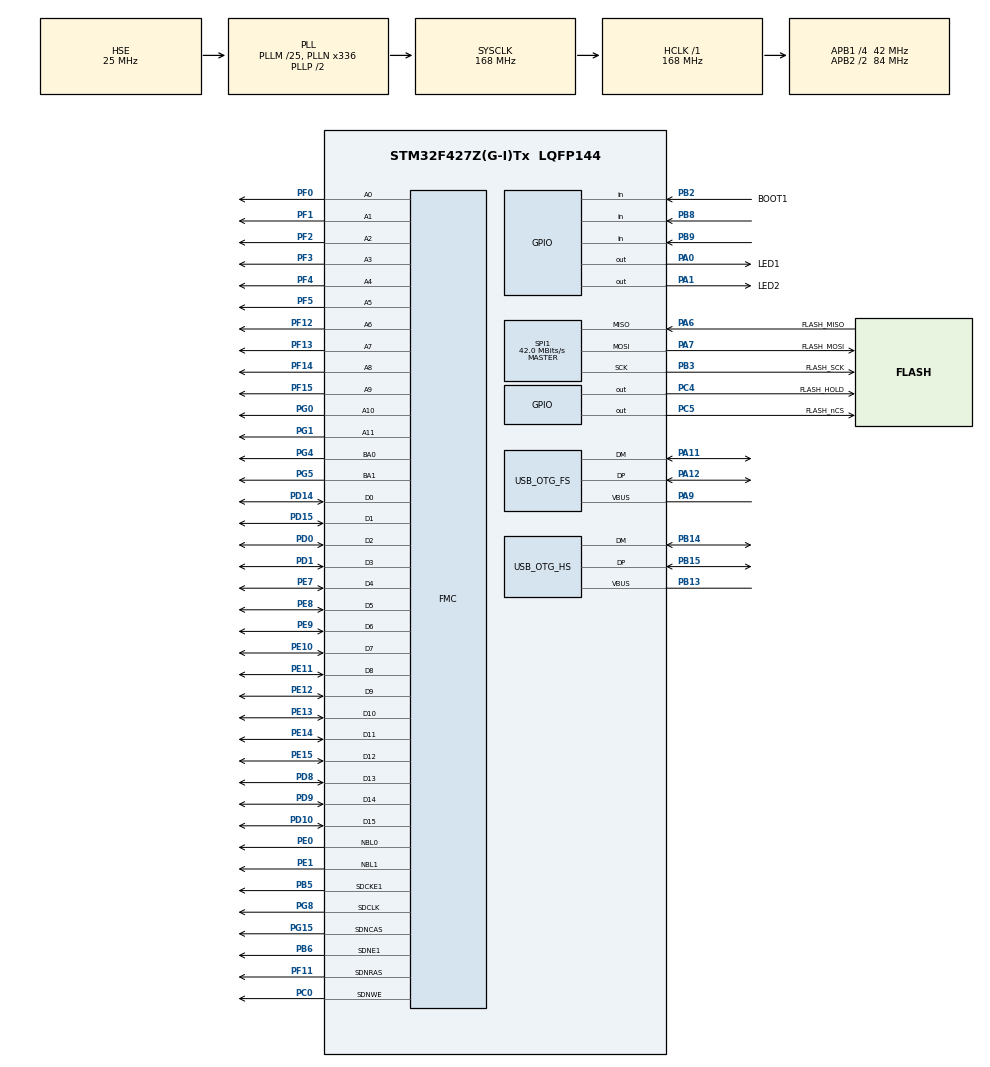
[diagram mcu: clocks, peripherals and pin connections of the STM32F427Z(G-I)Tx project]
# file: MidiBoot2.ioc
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FMC.CASLatency1=FMC_SDRAM_CAS_LATENCY_3
FMC.ExitSelfRefreshDelay1=6
FMC.LoadToActiveDelay1=2
FMC.RCDDelay1=2
FMC.RPDelay1=2
FMC.RPDelay2=2
FMC.ReadBurst1=FMC_SDRAM_RBURST_ENABLE
FMC.ReadBurst2=FMC_SDRAM_RBURST_ENABLE
FMC.ReadPipeDelay1=FMC_SDRAM_RPIPE_DELAY_0
FMC.RowCycleDelay1=6
FMC.RowCycleDelay2=6
FMC.SDClockPeriod1=FMC_SDRAM_CLOCK_PERIOD_2
FMC.SDClockPeriod2=FMC_SDRAM_CLOCK_PERIOD_2
FMC.SelfRefreshTime1=4
FMC.WriteRecoveryTime1=2
IWDG.Prescaler=IWDG_PRESCALER_128
IWDG.Reload=8*(30000/128)
Mcu.Family=STM32F4
Mcu.Name=STM32F427Z(G-I)Tx
Mcu.Package=LQFP144
NVIC.OTG_FS_IRQn=true\:0\:0\:false\:false\:true\:true\:true
NVIC.OTG_HS_IRQn=true\:8\:0\:true\:false\:true\:true\:true
NVIC.PriorityGroup=NVIC_PRIORITYGROUP_4
PA0/WKUP.GPIO_Label=LED1
PA0/WKUP.Signal=GPIO_Output
PA1.GPIO_Label=LED2
PA1.Signal=GPIO_Output
PA11.Mode=Device_Only
PA11.Signal=USB_OTG_FS_DM
PA12.Mode=Device_Only
PA12.Signal=USB_OTG_FS_DP
PA13.Mode=Serial_Wire
PA13.Signal=SYS_JTMS-SWDIO
PA14.Mode=Serial_Wire
PA14.Signal=SYS_JTCK-SWCLK
PA6.GPIO_Label=FLASH_MISO
PA6.Mode=Full_Duplex_Master
PA6.Signal=SPI1_MISO
PA7.GPIO_Label=FLASH_MOSI
PA7.Mode=Full_Duplex_Master
PA7.Signal=SPI1_MOSI
PA9.Mode=Activate_VBUS
PA9.Signal=USB_OTG_FS_VBUS
PB13.Mode=Activate_VBUS_FS
PB13.Signal=USB_OTG_HS_VBUS
PB14.Mode=Device_Only_FS
PB14.Signal=USB_OTG_HS_DM
PB15.Mode=Device_Only_FS
PB15.Signal=USB_OTG_HS_DP
PB2/BOOT1.GPIO_Label=BOOT1
PB2/BOOT1.GPIO_PuPd=GPIO_PULLUP
PB2/BOOT1.Signal=GPIO_Input
PB3.GPIO_Label=FLASH_SCK
PB3.Mode=Full_Duplex_Master
PB3.Signal=SPI1_SCK
PB5.Mode=SdramChipSelect2_1
PB5.Signal=FMC_SDCKE1
PB6.Mode=SdramChipSelect2_1
PB6.Signal=FMC_SDNE1
PB8.Signal=GPIO_Input
PB9.Signal=GPIO_Input
PC0.Signal=FMC_SDNWE
PC4.GPIO_Label=FLASH_HOLD
PC4.Signal=GPIO_Output
PC5.GPIO_Label=FLASH_nCS
PC5.Signal=GPIO_Output
PD0.Signal=FMC_D2_DA2
PD1.Signal=FMC_D3_DA3
PD10.Signal=FMC_D15_DA15
PD14.Signal=FMC_D0_DA0
PD15.Signal=FMC_D1_DA1
PD8.Signal=FMC_D13_DA13
PD9.Signal=FMC_D14_DA14
PE0.Signal=FMC_NBL0
PE1.Signal=FMC_NBL1
PE10.Signal=FMC_D7_DA7
PE11.Signal=FMC_D8_DA8
PE12.Signal=FMC_D9_DA9
PE13.Signal=FMC_D10_DA10
PE14.Signal=FMC_D11_DA11
PE15.Signal=FMC_D12_DA12
PE7.Signal=FMC_D4_DA4
PE8.Signal=FMC_D5_DA5
PE9.Signal=FMC_D6_DA6
PF0.Signal=FMC_A0
PF1.Signal=FMC_A1
PF11.Signal=FMC_SDNRAS
PF12.Signal=FMC_A6
PF13.Signal=FMC_A7
PF14.Signal=FMC_A8
PF15.Signal=FMC_A9
PF2.Signal=FMC_A2
PF3.Signal=FMC_A3
PF4.Signal=FMC_A4
PF5.Signal=FMC_A5
PG0.Signal=FMC_A10
PG1.Signal=FMC_A11
PG15.Signal=FMC_SDNCAS
PG4.Signal=FMC_A14_BA0
PG5.Signal=FMC_A15_BA1
PG8.Signal=FMC_SDCLK
PH0/OSC_IN.Mode=HSE-External-Oscillator
PH0/OSC_IN.Signal=RCC_OSC_IN
PH1/OSC_OUT.Mode=HSE-External-Oscillator
PH1/OSC_OUT.Signal=RCC_OSC_OUT
ProjectManager.HeapSize=0x200
ProjectManager.StackSize=0x400
ProjectManager.TargetToolchain=Other Toolchains (GPDSC)
RCC.48MHZClocksFreq_Value=48000000
RCC.AHBFreq_Value=168000000
RCC.APB1CLKDivider=RCC_HCLK_DIV4
RCC.APB1Freq_Value=42000000
RCC.APB1TimFreq_Value=84000000
RCC.APB2CLKDivider=RCC_HCLK_DIV2
RCC.APB2Freq_Value=84000000
RCC.APB2TimFreq_Value=168000000
RCC.CortexFreq_Value=168000000
RCC.HCLKFreq_Value=168000000
RCC.HSE_VALUE=25000000
RCC.HSI_VALUE=16000000
RCC.LSE_VALUE=32768
RCC.PLLM=25
RCC.PLLN=336
RCC.PLLQ=7
RCC.PLLSAIN=100
RCC.SYSCLKFreq_VALUE=168000000
RCC.SYSCLKSource=RCC_SYSCLKSOURCE_PLLCLK
RCC.USBFreq_Value=48000000
RCC.VCOOutputFreq_Value=336000000
SH.FMC_A0.0=FMC_A0,12b-sda1
SH.FMC_A1.0=FMC_A1,12b-sda1
SH.FMC_A10.0=FMC_A10,12b-sda1
SH.FMC_A11.0=FMC_A11,12b-sda1
SH.FMC_A14_BA0.0=FMC_BA0,FourSdramBanks1
SH.FMC_A15_BA1.0=FMC_BA1,FourSdramBanks1
SH.FMC_A2.0=FMC_A2,12b-sda1
SH.FMC_A3.0=FMC_A3,12b-sda1
SH.FMC_A4.0=FMC_A4,12b-sda1
SH.FMC_A5.0=FMC_A5,12b-sda1
SH.FMC_A6.0=FMC_A6,12b-sda1
SH.FMC_A7.0=FMC_A7,12b-sda1
SH.FMC_A8.0=FMC_A8,12b-sda1
SH.FMC_A9.0=FMC_A9,12b-sda1
SH.FMC_D0_DA0.0=FMC_D0,sd-16b-d1
SH.FMC_D10_DA10.0=FMC_D10,sd-16b-d1
SH.FMC_D11_DA11.0=FMC_D11,sd-16b-d1
SH.FMC_D12_DA12.0=FMC_D12,sd-16b-d1
SH.FMC_D13_DA13.0=FMC_D13,sd-16b-d1
SH.FMC_D14_DA14.0=FMC_D14,sd-16b-d1
SH.FMC_D15_DA15.0=FMC_D15,sd-16b-d1
SH.FMC_D1_DA1.0=FMC_D1,sd-16b-d1
SH.FMC_D2_DA2.0=FMC_D2,sd-16b-d1
SH.FMC_D3_DA3.0=FMC_D3,sd-16b-d1
SH.FMC_D4_DA4.0=FMC_D4,sd-16b-d1
SH.FMC_D5_DA5.0=FMC_D5,sd-16b-d1
SH.FMC_D6_DA6.0=FMC_D6,sd-16b-d1
SH.FMC_D7_DA7.0=FMC_D7,sd-16b-d1
SH.FMC_D8_DA8.0=FMC_D8,sd-16b-d1
SH.FMC_D9_DA9.0=FMC_D9,sd-16b-d1
SH.FMC_NBL0.0=FMC_NBL0,Sd2ByteEnable1
SH.FMC_NBL1.0=FMC_NBL1,Sd2ByteEnable1
SH.FMC_SDCLK.0=FMC_SDCLK,12b-sda1
SH.FMC_SDNCAS.0=FMC_SDNCAS,12b-sda1
SH.FMC_SDNRAS.0=FMC_SDNRAS,12b-sda1
SH.FMC_SDNWE.0=FMC_SDNWE,12b-sda1
SPI1.CalculateBaudRate=42.0 MBits/s
SPI1.Direction=SPI_DIRECTION_2LINES
SPI1.Mode=SPI_MODE_MASTER
SPI1.VirtualType=VM_MASTER
USB_OTG_FS.VirtualMode=Device_Only
USB_OTG_HS.VirtualMode-Device_Only_FS=Device_Only_FS
VP_IWDG_VS_IWDG.Mode=IWDG_Activate
board=MidiBoot

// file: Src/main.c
/* USER CODE BEGIN Header */
/**
  ******************************************************************************
  * @file           : main.c
  * @brief          : Main program body
  ******************************************************************************
  * @attention
  *
  * <h2><center>&copy; Copyright (c) 2020 STMicroelectronics.
  * All rights reserved.</center></h2>
  *
  * This software component is licensed by ST under Ultimate Liberty license
  * SLA0044, the "License"; You may not use this file except in compliance with
  * the License. You may obtain a copy of the License at:
  *                             www.st.com/SLA0044
  *
  ******************************************************************************
  */
/* USER CODE END Header */
#include "main.h"

/* USER CODE BEGIN Includes */
#include "device.h"
#include "errorhandlers.h"
/* USER CODE END Includes */

SPI_HandleTypeDef hspi1;

PCD_HandleTypeDef hpcd_USB_OTG_FS;
PCD_HandleTypeDef hpcd_USB_OTG_HS;

SDRAM_HandleTypeDef hsdram1;

/* USER CODE BEGIN PV */
/* Private variables ---------------------------------------------------------*/

/* USER CODE END PV */

void SystemClock_Config(void);
static void MX_GPIO_Init(void);
static void MX_FMC_Init(void);
static void MX_SPI1_Init(void);
static void MX_USB_OTG_FS_PCD_Init(void);
static void MX_USB_OTG_HS_PCD_Init(void);
/* USER CODE BEGIN PFP */
/* Private function prototypes -----------------------------------------------*/

void setup();
void SDRAM_Initialization_Sequence(SDRAM_HandleTypeDef *hsdram);
void loop(void);
void setMessage(const char* msg);

typedef  void (*pFunction)(void);

static int testMagic(){
  return *OWLBOOT_MAGIC_ADDRESS == OWLBOOT_MAGIC_NUMBER;
}

static int testLoop(){
  // Prevent reset cycles.
  // Check if we've been reset without zeroing the magic address,
  // which might indicate a corrupt firmware.
  return *OWLBOOT_MAGIC_ADDRESS == OWLBOOT_LOOP_NUMBER;
}

int testButton(){
#ifdef USE_BOOT1_PIN
  return !(BOOT1_GPIO_Port->IDR & BOOT1_Pin);
#else
  return 0;
#endif
}

static int testNoProgram(){
  return ((*(__IO uint32_t*)(APPLICATION_ADDRESS + 4)) & 0xFFF00000 ) != 0x08000000;
  /* Check Vector Table: Test if valid Reset_Handler pointer is programmed after APPLICATION_ADDRESS */
}

static int testWatchdogReset(){
  return __HAL_RCC_GET_FLAG(RCC_FLAG_IWDGRST) != RESET;
}

static int testPowerLowReset(){
  return __HAL_RCC_GET_FLAG(RCC_FLAG_LPWRRST) != RESET;
}

static int testBrownOutReset(){
  return __HAL_RCC_GET_FLAG(RCC_FLAG_BORRST) != RESET && // Power down or Brown out
    __HAL_RCC_GET_FLAG(RCC_FLAG_PORRST) == RESET; // Not power down
}

/* USER CODE END PFP */

int main(void)
{

  /* MCU Configuration--------------------------------------------------------*/

  /* Reset of all peripherals, Initializes the Flash interface and the Systick. */
  HAL_Init();

  /* Configure the system clock */
  SystemClock_Config();

  /* USER CODE BEGIN SysInit */

  /* Start watchdog */
  device_watchdog_setup();

  MX_GPIO_Init();

  if(testMagic()){
    setMessage("Bootloader starting");
  }else if(testButton()){
    setMessage("Bootloader requested");
  }else if(testLoop()){
    error(RUNTIME_ERROR, "Unexpected reset");
  }else if(testWatchdogReset()){
    error(RUNTIME_ERROR, "Watchdog reset");
  }else if(testPowerLowReset()){
    error(RUNTIME_ERROR, "Low power reset");
  }else if(testBrownOutReset()){
    error(RUNTIME_ERROR, "Brown out reset");
  }else if(testNoProgram()){
    error(RUNTIME_ERROR, "No valid firmware");
  }else{
    // jump to application code

    /* Disable all interrupts */
    RCC->CIR = 0x00000000;

    /* Disable and reset SysTick */
    SysTick->CTRL = 0;
    SysTick->LOAD = 0;
    SysTick->VAL = 0;

    /* Clear Interrupt Enable Register & Interrupt Pending Register */
    for (int i = 0;i < 5; i++) {
      NVIC->ICER[i]=0xFFFFFFFF;
      NVIC->ICPR[i]=0xFFFFFFFF;
    }

    /* Put marker in to prevent reset cycles */
    *OWLBOOT_MAGIC_ADDRESS = OWLBOOT_LOOP_NUMBER;

    /* Jump to user application */
    __disable_irq();
    uint32_t JumpAddress = *(__IO uint32_t*) (APPLICATION_ADDRESS + 4);
    pFunction jumpToApplication = (pFunction) JumpAddress;
    /* Initialize user application's Stack Pointer and vector table */
    __set_MSP(*(__IO uint32_t*)APPLICATION_ADDRESS);
    SCB->VTOR = *(__IO uint32_t*)APPLICATION_ADDRESS;
    __enable_irq();
    jumpToApplication();
    for(;;);
  }
  /* Clear reset flags */
  __HAL_RCC_CLEAR_RESET_FLAGS();

  /* Clear magic */
  *OWLBOOT_MAGIC_ADDRESS = 0;

  /* USER CODE END SysInit */

  /* Initialize all configured peripherals */
  MX_GPIO_Init();
  MX_FMC_Init();
  MX_SPI1_Init();
  MX_USB_OTG_FS_PCD_Init();
  MX_USB_OTG_HS_PCD_Init();
  /* USER CODE BEGIN 2 */

#ifdef USE_EXTERNAL_RAM
  SDRAM_Initialization_Sequence(&hsdram1);
#endif

  // Initialise
  setup();

  /* USER CODE END 2 */

  /* Infinite loop */
  /* USER CODE BEGIN WHILE */
  while (1)
  {
    loop();
    /* USER CODE END WHILE */

  }
}

void SystemClock_Config(void)
{
  RCC_OscInitTypeDef RCC_OscInitStruct = {0};
  RCC_ClkInitTypeDef RCC_ClkInitStruct = {0};

  /** Configure the main internal regulator output voltage
  */
  __HAL_RCC_PWR_CLK_ENABLE();
  __HAL_PWR_VOLTAGESCALING_CONFIG(PWR_REGULATOR_VOLTAGE_SCALE1);
  /** Initializes the RCC Oscillators according to the specified parameters
  * in the RCC_OscInitTypeDef structure.
  */
  RCC_OscInitStruct.OscillatorType = RCC_OSCILLATORTYPE_LSI|RCC_OSCILLATORTYPE_HSE;
  RCC_OscInitStruct.HSEState = RCC_HSE_ON;
  RCC_OscInitStruct.LSIState = RCC_LSI_ON;
  RCC_OscInitStruct.PLL.PLLState = RCC_PLL_ON;
  RCC_OscInitStruct.PLL.PLLSource = RCC_PLLSOURCE_HSE;
  RCC_OscInitStruct.PLL.PLLM = 25;
  RCC_OscInitStruct.PLL.PLLN = 336;
  RCC_OscInitStruct.PLL.PLLP = RCC_PLLP_DIV2;
  RCC_OscInitStruct.PLL.PLLQ = 7;
  if (HAL_RCC_OscConfig(&RCC_OscInitStruct) != HAL_OK)
  {
    Error_Handler();
  }
  /** Initializes the CPU, AHB and APB buses clocks
  */
  RCC_ClkInitStruct.ClockType = RCC_CLOCKTYPE_HCLK|RCC_CLOCKTYPE_SYSCLK
                              |RCC_CLOCKTYPE_PCLK1|RCC_CLOCKTYPE_PCLK2;
  RCC_ClkInitStruct.SYSCLKSource = RCC_SYSCLKSOURCE_PLLCLK;
  RCC_ClkInitStruct.AHBCLKDivider = RCC_SYSCLK_DIV1;
  RCC_ClkInitStruct.APB1CLKDivider = RCC_HCLK_DIV4;
  RCC_ClkInitStruct.APB2CLKDivider = RCC_HCLK_DIV2;

  if (HAL_RCC_ClockConfig(&RCC_ClkInitStruct, FLASH_LATENCY_5) != HAL_OK)
  {
    Error_Handler();
  }
}

static void MX_SPI1_Init(void)
{

  /* SPI1 parameter configuration*/
  hspi1.Instance = SPI1;
  hspi1.Init.Mode = SPI_MODE_MASTER;
  hspi1.Init.Direction = SPI_DIRECTION_2LINES;
  hspi1.Init.DataSize = SPI_DATASIZE_8BIT;
  hspi1.Init.CLKPolarity = SPI_POLARITY_LOW;
  hspi1.Init.CLKPhase = SPI_PHASE_1EDGE;
  hspi1.Init.NSS = SPI_NSS_SOFT;
  hspi1.Init.BaudRatePrescaler = SPI_BAUDRATEPRESCALER_2;
  hspi1.Init.FirstBit = SPI_FIRSTBIT_MSB;
  hspi1.Init.TIMode = SPI_TIMODE_DISABLE;
  hspi1.Init.CRCCalculation = SPI_CRCCALCULATION_DISABLE;
  hspi1.Init.CRCPolynomial = 10;
  if (HAL_SPI_Init(&hspi1) != HAL_OK)
  {
    Error_Handler();
  }

}

static void MX_USB_OTG_FS_PCD_Init(void)
{

  hpcd_USB_OTG_FS.Instance = USB_OTG_FS;
  hpcd_USB_OTG_FS.Init.dev_endpoints = 4;
  hpcd_USB_OTG_FS.Init.speed = PCD_SPEED_FULL;
  hpcd_USB_OTG_FS.Init.dma_enable = DISABLE;
  hpcd_USB_OTG_FS.Init.phy_itface = PCD_PHY_EMBEDDED;
  hpcd_USB_OTG_FS.Init.Sof_enable = DISABLE;
  hpcd_USB_OTG_FS.Init.low_power_enable = DISABLE;
  hpcd_USB_OTG_FS.Init.lpm_enable = DISABLE;
  hpcd_USB_OTG_FS.Init.vbus_sensing_enable = ENABLE;
  hpcd_USB_OTG_FS.Init.use_dedicated_ep1 = DISABLE;
  if (HAL_PCD_Init(&hpcd_USB_OTG_FS) != HAL_OK)
  {
    Error_Handler();
  }

}

static void MX_USB_OTG_HS_PCD_Init(void)
{

  hpcd_USB_OTG_HS.Instance = USB_OTG_HS;
  hpcd_USB_OTG_HS.Init.dev_endpoints = 6;
  hpcd_USB_OTG_HS.Init.speed = PCD_SPEED_FULL;
  hpcd_USB_OTG_HS.Init.dma_enable = DISABLE;
  hpcd_USB_OTG_HS.Init.phy_itface = USB_OTG_EMBEDDED_PHY;
  hpcd_USB_OTG_HS.Init.Sof_enable = DISABLE;
  hpcd_USB_OTG_HS.Init.low_power_enable = DISABLE;
  hpcd_USB_OTG_HS.Init.lpm_enable = DISABLE;
  hpcd_USB_OTG_HS.Init.vbus_sensing_enable = ENABLE;
  hpcd_USB_OTG_HS.Init.use_dedicated_ep1 = DISABLE;
  hpcd_USB_OTG_HS.Init.use_external_vbus = DISABLE;
  if (HAL_PCD_Init(&hpcd_USB_OTG_HS) != HAL_OK)
  {
    Error_Handler();
  }

}

/* FMC initialization function */
static void MX_FMC_Init(void)
{

  /* USER CODE BEGIN FMC_Init 0 */
#ifdef USE_EXTERNAL_RAM
  /* USER CODE END FMC_Init 0 */

  FMC_SDRAM_TimingTypeDef SdramTiming = {0};

  /** Perform the SDRAM1 memory initialization sequence
  */
  hsdram1.Instance = FMC_SDRAM_DEVICE;
  /* hsdram1.Init */
  hsdram1.Init.SDBank = FMC_SDRAM_BANK2;
  hsdram1.Init.ColumnBitsNumber = FMC_SDRAM_COLUMN_BITS_NUM_8;
  hsdram1.Init.RowBitsNumber = FMC_SDRAM_ROW_BITS_NUM_12;
  hsdram1.Init.MemoryDataWidth = FMC_SDRAM_MEM_BUS_WIDTH_16;
  hsdram1.Init.InternalBankNumber = FMC_SDRAM_INTERN_BANKS_NUM_4;
  hsdram1.Init.CASLatency = FMC_SDRAM_CAS_LATENCY_3;
  hsdram1.Init.WriteProtection = FMC_SDRAM_WRITE_PROTECTION_DISABLE;
  hsdram1.Init.SDClockPeriod = FMC_SDRAM_CLOCK_PERIOD_2;
  hsdram1.Init.ReadBurst = FMC_SDRAM_RBURST_ENABLE;
  hsdram1.Init.ReadPipeDelay = FMC_SDRAM_RPIPE_DELAY_0;
  /* SdramTiming */
  SdramTiming.LoadToActiveDelay = 2;
  SdramTiming.ExitSelfRefreshDelay = 6;
  SdramTiming.SelfRefreshTime = 4;
  SdramTiming.RowCycleDelay = 6;
  SdramTiming.WriteRecoveryTime = 2;
  SdramTiming.RPDelay = 2;
  SdramTiming.RCDDelay = 2;

  if (HAL_SDRAM_Init(&hsdram1, &SdramTiming) != HAL_OK)
  {
    Error_Handler( );
  }

  /* USER CODE BEGIN FMC_Init 2 */
#endif
  /* USER CODE END FMC_Init 2 */
}

static void MX_GPIO_Init(void)
{
  GPIO_InitTypeDef GPIO_InitStruct = {0};

  /* GPIO Ports Clock Enable */
  __HAL_RCC_GPIOF_CLK_ENABLE();
  __HAL_RCC_GPIOH_CLK_ENABLE();
  __HAL_RCC_GPIOC_CLK_ENABLE();
  __HAL_RCC_GPIOA_CLK_ENABLE();
  __HAL_RCC_GPIOB_CLK_ENABLE();
  __HAL_RCC_GPIOG_CLK_ENABLE();
  __HAL_RCC_GPIOE_CLK_ENABLE();
  __HAL_RCC_GPIOD_CLK_ENABLE();

  /*Configure GPIO pin Output Level */
  HAL_GPIO_WritePin(GPIOC, FLASH_HOLD_Pin|FLASH_nCS_Pin, GPIO_PIN_RESET);

  /*Configure GPIO pins : LED1_Pin LED2_Pin */
  GPIO_InitStruct.Mode = GPIO_MODE_OUTPUT_PP;
  GPIO_InitStruct.Pull = GPIO_NOPULL;
  GPIO_InitStruct.Speed = GPIO_SPEED_FREQ_LOW;
#ifdef LED1_Pin
  HAL_GPIO_WritePin(LED1_GPIO_Port, LED1_Pin, GPIO_PIN_RESET);
  GPIO_InitStruct.Pin = LED1_Pin;
  HAL_GPIO_Init(LED1_GPIO_Port, &GPIO_InitStruct);
#endif
#ifdef LED2_Pin
  HAL_GPIO_WritePin(LED2_GPIO_Port, LED2_Pin, GPIO_PIN_RESET);
  GPIO_InitStruct.Pin = LED2_Pin;
  HAL_GPIO_Init(LED2_GPIO_Port, &GPIO_InitStruct);
#endif

  /*Configure GPIO pins : FLASH_HOLD_Pin FLASH_nCS_Pin */
  GPIO_InitStruct.Pin = FLASH_HOLD_Pin|FLASH_nCS_Pin;
  GPIO_InitStruct.Mode = GPIO_MODE_OUTPUT_PP;
  GPIO_InitStruct.Pull = GPIO_NOPULL;
  GPIO_InitStruct.Speed = GPIO_SPEED_FREQ_LOW;
  HAL_GPIO_Init(GPIOC, &GPIO_InitStruct);

  /*Configure GPIO pin : BOOT1_Pin */
#ifdef BOOT1_Pin
  GPIO_InitStruct.Pin = BOOT1_Pin;
  GPIO_InitStruct.Mode = GPIO_MODE_INPUT;
  GPIO_InitStruct.Pull = GPIO_PULLUP;
  HAL_GPIO_Init(BOOT1_GPIO_Port, &GPIO_InitStruct);
#endif

  /*Configure GPIO pins : PB8 PB9 */
  GPIO_InitStruct.Pin = GPIO_PIN_8|GPIO_PIN_9;
  GPIO_InitStruct.Mode = GPIO_MODE_INPUT;
  GPIO_InitStruct.Pull = GPIO_NOPULL;
  HAL_GPIO_Init(GPIOB, &GPIO_InitStruct);

}

void Error_Handler(void)
{
  /* USER CODE BEGIN Error_Handler_Debug */
#ifdef DEBUG
  __asm__("BKPT");
#else
  NVIC_SystemReset();
#endif
  /* USER CODE END Error_Handler_Debug */
}

#ifdef  USE_FULL_ASSERT
/**
  * @brief  Reports the name of the source file and the source line number
  *         where the assert_param error has occurred.
  * @param  file: pointer to the source file name
  * @param  line: assert_param error line source number
  * @retval None
  */
void assert_failed(uint8_t *file, uint32_t line)
{
  /* USER CODE BEGIN 6 */
#ifdef DEBUG
  __asm__("BKPT");
#else
  NVIC_SystemReset();
#endif
  /* USER CODE END 6 */
}
#endif /* USE_FULL_ASSERT */

/************************ (C) COPYRIGHT STMicroelectronics *****END OF FILE****/
